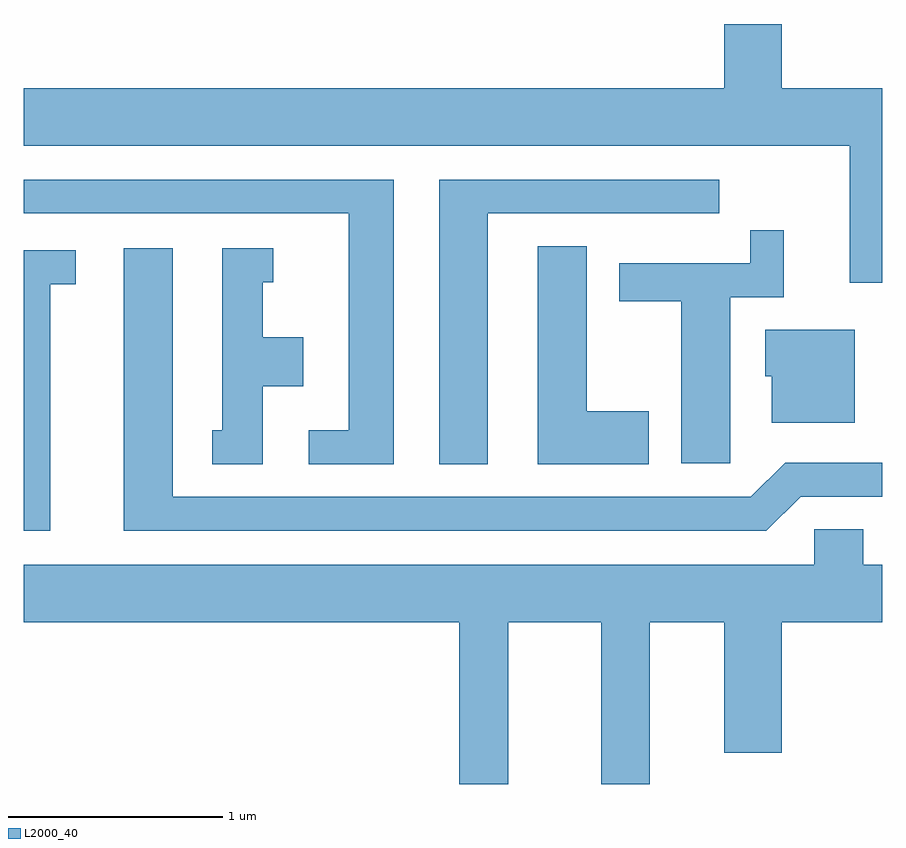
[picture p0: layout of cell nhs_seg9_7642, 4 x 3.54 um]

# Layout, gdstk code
import gdstk
lib = gdstk.Library(unit=1e-6, precision=1e-09)
def P(c, l, *ps):  # polygons
    for p in ps: c.add(gdstk.Polygon(p, *l))
L2000_40 = (2000, 40)

nhs_seg9_7642 = lib.new_cell('nhs_seg9_7642')
P(nhs_seg9_7642, L2000_40, [(415.611,2009.844),(415.144,2009.844),(415.144,2010.144),(414.876,2010.144),(414.876,2009.844),(411.611,2009.844),(411.611,2009.576),(415.461,2009.576),(415.461,2008.938),(415.611,2008.938)],
  [(413.774,2009.261),(414.853,2009.261),(414.853,2009.419),(413.546,2009.419),(413.546,2008.091),(413.774,2008.091)],
  [(413.334,2009.419),(411.611,2009.419),(411.611,2009.261),(413.126,2009.261),(413.126,2008.249),(412.938,2008.249),(412.938,2008.091),(413.334,2008.091)],
  [(414.904,2008.871),(415.154,2008.871),(415.154,2009.183),(414.996,2009.183),(414.996,2009.029),(414.386,2009.029),(414.386,2008.851),(414.676,2008.851),(414.676,2008.096),(414.904,2008.096)],
  [(414.524,2008.339),(414.234,2008.339),(414.234,2009.109),(414.006,2009.109),(414.006,2008.091),(414.524,2008.091)],
  [(415.232,2007.941),(415.611,2007.941),(415.611,2008.099),(415.159,2008.099),(414.999,2007.939),(412.304,2007.939),(412.304,2009.099),(412.076,2009.099),(412.076,2007.781),(415.072,2007.781)],
  [(412.724,2008.456),(412.914,2008.456),(412.914,2008.684),(412.724,2008.684),(412.724,2008.941),(412.773,2008.941),(412.773,2009.099),(412.536,2009.099),(412.536,2008.249),(412.488,2008.249),(412.488,2008.091),(412.724,2008.091)],
  [(411.734,2008.931),(411.853,2008.931),(411.853,2009.089),(411.611,2009.089),(411.611,2007.781),(411.734,2007.781)],
  [(415.484,2008.719),(415.066,2008.719),(415.066,2008.501),(415.096,2008.501),(415.096,2008.286),(415.484,2008.286)],
  [(413.869,2007.356),(414.301,2007.356),(414.301,2006.601),(414.529,2006.601),(414.529,2007.356),(414.876,2007.356),(414.876,2006.746),(415.144,2006.746),(415.144,2007.356),(415.611,2007.356),(415.611,2007.624),(415.524,2007.624),(415.524,2007.789),(415.296,2007.789),(415.296,2007.624),(411.611,2007.624),(411.611,2007.356),(413.641,2007.356),(413.641,2006.601),(413.869,2006.601)])

lib.write_gds('nhs_seg9_7642.gds')
